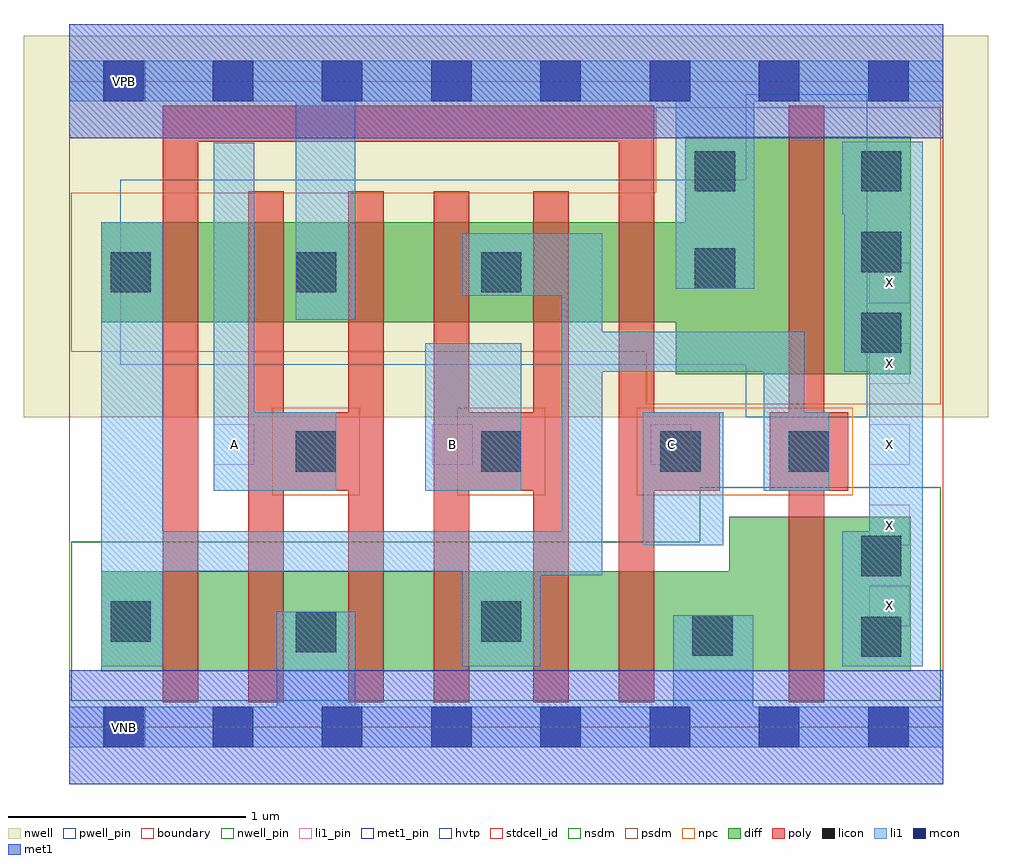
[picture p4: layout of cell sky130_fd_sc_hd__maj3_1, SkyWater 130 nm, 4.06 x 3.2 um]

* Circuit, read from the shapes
.subckt sky130_fd_sc_hd__maj3_1 A B C VGND VNB VPB VPWR X
XM1 n1 C n2 VNB sky130_fd_pr__nfet_01v8 w=0.42 l=0.15
XM2 VGND A n1 VNB sky130_fd_pr__nfet_01v8 w=0.42 l=0.15
XM3 n3 A VGND VNB sky130_fd_pr__nfet_01v8 w=0.42 l=0.15
XM4 n2 B n3 VNB sky130_fd_pr__nfet_01v8 w=0.42 l=0.15
XM5 n4 B n2 VNB sky130_fd_pr__nfet_01v8 w=0.42 l=0.15
XM6 VGND C n4 VNB sky130_fd_pr__nfet_01v8 w=0.42 l=0.15
XM7 X n2 VGND VNB sky130_fd_pr__nfet_01v8 w=0.65 l=0.15
XM8 n5 C n2 VPB sky130_fd_pr__pfet_01v8_hvt w=0.42 l=0.15
XM9 VPWR A n5 VPB sky130_fd_pr__pfet_01v8_hvt w=0.42 l=0.15
XM10 n6 A VPWR VPB sky130_fd_pr__pfet_01v8_hvt w=0.42 l=0.15
XM11 n2 B n6 VPB sky130_fd_pr__pfet_01v8_hvt w=0.42 l=0.15
XM12 n7 B n2 VPB sky130_fd_pr__pfet_01v8_hvt w=0.42 l=0.15
XM13 VPWR C n7 VPB sky130_fd_pr__pfet_01v8_hvt w=0.42 l=0.15
XM14 X n2 VPWR VPB sky130_fd_pr__pfet_01v8_hvt w=1 l=0.15
.ends

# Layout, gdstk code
import gdstk
lib = gdstk.Library(unit=1e-6, precision=1e-09)
def R(c, l, rs):  # rectangles x0, y0, x1, y1
    for r in rs: c.add(gdstk.rectangle(r[:2], r[2:], *l))
def A(c, l, x, y, w, h, nx, ny, dx, dy):  # array of equal rectangles
    R(c, l, [(x+i*dx, y+j*dy, x+i*dx+w, y+j*dy+h) for i in range(nx) for j in range(ny)])
nwell_pin = (64, 16)
nwell = (64, 20)
diff = (65, 20)
poly = (66, 20)
licon = (66, 44)
li1_pin = (67, 16)
li1 = (67, 20)
mcon = (67, 44)
met1_pin = (68, 16)
met1 = (68, 20)
hvtp = (78, 44)
stdcell_id = (81, 4)
nsdm = (93, 44)
psdm = (94, 20)
npc = (95, 20)
pwell_pin = (122, 16)
boundary = (235, 4)

sky130_fd_sc_hd__maj3_1 = lib.new_cell('sky130_fd_sc_hd__maj3_1')
R(sky130_fd_sc_hd__maj3_1, nwell_pin, [(0.15,2.635,0.32,2.805)])
R(sky130_fd_sc_hd__maj3_1, nwell, [(-0.19,1.305,3.87,2.91)])
R(sky130_fd_sc_hd__maj3_1, diff, [(0.135,0.235,3.545,0.655), (2.78,0.655,3.545,0.885), (2.555,1.485,3.545,1.705), (0.135,1.705,3.545,2.125), (2.595,2.125,3.545,2.485)])
R(sky130_fd_sc_hd__maj3_1, poly, [(0.395,0.105,0.545,2.465), (0.755,0.105,0.905,0.995), (1.175,0.105,1.325,0.995), (1.535,0.105,1.685,0.995), (1.955,0.105,2.105,0.995), (2.315,0.105,2.465,0.995), (3.03,0.105,3.18,0.995), (0.755,0.995,1.325,1.325), (1.535,0.995,2.105,1.325), (2.315,0.995,2.74,1.325), (2.95,0.995,3.28,1.325), (0.755,1.325,0.905,2.255), (1.175,1.325,1.325,2.255), (1.535,1.325,1.685,2.255), (1.955,1.325,2.105,2.255), (2.315,1.325,2.465,2.465), (3.03,1.325,3.18,2.615), (0.395,2.465,2.465,2.615)])
A(sky130_fd_sc_hd__maj3_1, licon, 3.335, 1.575, 0.17, 0.17, 1, 3, 0, 0.34)
A(sky130_fd_sc_hd__maj3_1, licon, 0.175, 1.83, 0.17, 0.17, 3, 1, 0.78, 0)
R(sky130_fd_sc_hd__maj3_1, licon, [(3.335,0.295,3.505,0.465), (2.625,0.3,2.795,0.47), (0.955,0.315,1.125,0.485), (0.175,0.36,0.345,0.53), (1.735,0.36,1.905,0.53), (3.335,0.635,3.505,0.805), (0.955,1.075,1.125,1.245), (1.735,1.075,1.905,1.245), (2.49,1.075,2.66,1.245), (3.03,1.075,3.2,1.245), (2.635,1.845,2.805,2.015), (2.635,2.255,2.805,2.425)])
A(sky130_fd_sc_hd__maj3_1, li1_pin, 0.61, 1.105, 0.17, 0.17, 4, 1, 0.92, 0)
R(sky130_fd_sc_hd__maj3_1, li1_pin, [(3.37,0.425,3.54,0.595), (3.37,0.765,3.54,0.935), (3.37,1.445,3.54,1.615), (3.37,1.785,3.54,1.955)])
R(sky130_fd_sc_hd__maj3_1, li1, [(0,-0.085,3.68,0.085), (0.875,0.085,1.205,0.485), (2.545,0.085,2.88,0.47), (0.135,0.255,0.395,0.655), (1.655,0.255,1.985,0.64), (3.255,0.255,3.595,0.825), (1.655,0.64,2.245,0.655), (0.135,0.655,2.245,0.825), (2.415,0.765,2.755,1.325), (0.135,0.825,0.395,2.125), (2.075,0.825,2.245,1.495), (3.37,0.825,3.595,1.495), (0.61,0.995,1.125,1.325), (1.5,0.995,1.905,1.615), (2.925,0.995,3.2,1.325), (0.61,1.325,0.78,2.46), (2.925,1.325,3.095,1.495), (2.075,1.495,3.095,1.665), (3.265,1.495,3.595,2.16), (2.075,1.665,2.245,1.815), (0.955,1.715,1.205,2.635), (1.655,1.815,2.245,2.08), (2.555,1.845,2.885,2.635), (3.255,2.16,3.595,2.465), (0,2.635,3.68,2.805)])
A(sky130_fd_sc_hd__maj3_1, mcon, 0.145, -0.085, 0.17, 0.17, 8, 2, 0.46, 2.72)
R(sky130_fd_sc_hd__maj3_1, met1_pin, [(0.15,-0.085,0.32,0.085), (0.15,2.635,0.32,2.805)])
R(sky130_fd_sc_hd__maj3_1, met1, [(0,-0.24,3.68,0.24), (0,2.48,3.68,2.96)])
R(sky130_fd_sc_hd__maj3_1, hvtp, [(2.85,1.305,3.36,1.525), (0.215,1.525,3.36,2.305), (2.85,2.305,3.36,2.665)])
R(sky130_fd_sc_hd__maj3_1, stdcell_id, [(0,0,3.68,2.72)])
R(sky130_fd_sc_hd__maj3_1, nsdm, [(0.01,0.11,3.67,0.78), (2.655,0.78,3.67,1.01)])
R(sky130_fd_sc_hd__maj3_1, psdm, [(2.43,1.36,3.67,1.58), (0.01,1.58,3.67,2.25), (2.47,2.25,3.67,2.61)])
R(sky130_fd_sc_hd__maj3_1, npc, [(0.855,0.975,1.225,1.345), (1.635,0.975,2.005,1.345), (2.39,0.975,3.3,1.345)])
R(sky130_fd_sc_hd__maj3_1, pwell_pin, [(0.15,-0.085,0.32,0.085)])
R(sky130_fd_sc_hd__maj3_1, boundary, [(0,0,3.68,2.72)])
sky130_fd_sc_hd__maj3_1.add(gdstk.Label('VPB', (0.235,2.72), layer=64, texttype=5))
sky130_fd_sc_hd__maj3_1.add(gdstk.Label('VNB', (0.235,0), layer=64, texttype=59))
sky130_fd_sc_hd__maj3_1.add(gdstk.Label('VGND', (0.235,0), layer=68, texttype=5))
sky130_fd_sc_hd__maj3_1.add(gdstk.Label('VPWR', (0.235,2.72), layer=68, texttype=5))
sky130_fd_sc_hd__maj3_1.add(gdstk.Label('X', (3.455,1.87), layer=67, texttype=5))
sky130_fd_sc_hd__maj3_1.add(gdstk.Label('X', (3.455,1.53), layer=67, texttype=5))
sky130_fd_sc_hd__maj3_1.add(gdstk.Label('X', (3.455,1.19), layer=67, texttype=5))
sky130_fd_sc_hd__maj3_1.add(gdstk.Label('X', (3.455,0.85), layer=67, texttype=5))
sky130_fd_sc_hd__maj3_1.add(gdstk.Label('X', (3.455,0.51), layer=67, texttype=5))
sky130_fd_sc_hd__maj3_1.add(gdstk.Label('C', (2.535,1.19), layer=67, texttype=5))
sky130_fd_sc_hd__maj3_1.add(gdstk.Label('A', (0.695,1.19), layer=67, texttype=5))
sky130_fd_sc_hd__maj3_1.add(gdstk.Label('B', (1.615,1.19), layer=67, texttype=5))

lib.write_gds('sky130_fd_sc_hd__maj3_1.gds')
